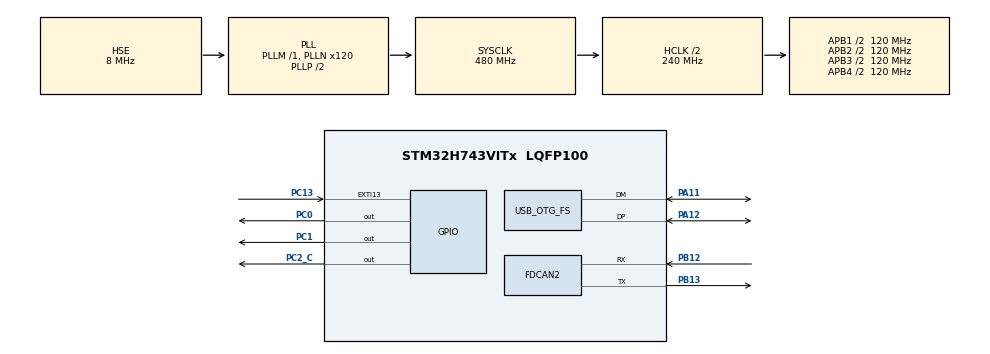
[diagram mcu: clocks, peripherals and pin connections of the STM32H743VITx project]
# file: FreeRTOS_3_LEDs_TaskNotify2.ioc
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FDCAN2.CalculateBaudRateNominal=800000
FDCAN2.CalculateTimeBitNominal=1250
FDCAN2.CalculateTimeQuantumNominal=250.0
Mcu.Family=STM32H7
Mcu.Name=STM32H743VITx
Mcu.Package=LQFP100
NVIC.EXTI15_10_IRQn=true\:5\:0\:true\:false\:true\:true\:true\:true
NVIC.FDCAN2_IT0_IRQn=true\:0\:0\:false\:false\:true\:true\:true\:true
NVIC.FDCAN2_IT1_IRQn=true\:0\:0\:false\:false\:true\:true\:true\:true
NVIC.PriorityGroup=NVIC_PRIORITYGROUP_4
NVIC.TIM6_DAC_IRQn=true\:15\:0\:false\:false\:true\:false\:true\:true
NVIC.TimeBase=TIM6_DAC_IRQn
NVIC.TimeBaseIP=TIM6
PA11.Mode=Host_Only
PA11.Signal=USB_OTG_FS_DM
PA12.Mode=Host_Only
PA12.Signal=USB_OTG_FS_DP
PA13\ (JTMS/SWDIO).Mode=Trace_Asynchronous_SW
PA13\ (JTMS/SWDIO).Signal=DEBUG_JTMS-SWDIO
PA14\ (JTCK/SWCLK).Mode=Trace_Asynchronous_SW
PA14\ (JTCK/SWCLK).Signal=DEBUG_JTCK-SWCLK
PB12.Mode=FDCAN_Activate
PB12.Signal=FDCAN2_RX
PB13.Mode=FDCAN_Activate
PB13.Signal=FDCAN2_TX
PB3\ (JTDO/TRACESWO).Mode=Trace_Asynchronous_SW
PB3\ (JTDO/TRACESWO).Signal=DEBUG_JTDO-SWO
PC0.Signal=GPIO_Output
PC1.Signal=GPIO_Output
PC13.GPIO_ModeDefaultEXTI=GPIO_MODE_IT_RISING
PC13.GPIO_PuPd=GPIO_NOPULL
PC13.Signal=GPXTI13
PC2_C.Signal=GPIO_Output
PH0-OSC_IN\ (PH0).Mode=HSE-External-Oscillator
PH0-OSC_IN\ (PH0).Signal=RCC_OSC_IN
PH1-OSC_OUT\ (PH1).Mode=HSE-External-Oscillator
PH1-OSC_OUT\ (PH1).Signal=RCC_OSC_OUT
ProjectManager.HeapSize=0x200
ProjectManager.StackSize=0x400
ProjectManager.TargetToolchain=STM32CubeIDE
RCC.ADCFreq_Value=16125000
RCC.APB1Freq_Value=120000000
RCC.APB2Freq_Value=120000000
RCC.APB3Freq_Value=120000000
RCC.APB4Freq_Value=120000000
RCC.CortexFreq_Value=480000000
RCC.D1PPRE=RCC_APB3_DIV2
RCC.D2PPRE1=RCC_APB1_DIV2
RCC.D2PPRE2=RCC_APB2_DIV2
RCC.D3PPRE=RCC_APB4_DIV2
RCC.DIVM1=1
RCC.DIVN1=120
RCC.DIVQ1=15
RCC.HCLKFreq_Value=240000000
RCC.HPRE=RCC_HCLK_DIV2
RCC.HSE_VALUE=8000000
RCC.PLL1_VCI_Range-AdvancedSettings=RCC_PLL1VCIRANGE_0
RCC.PLL2FRACN=0
RCC.PLL2_VCI_Range-AdvancedSettings=RCC_PLL2VCIRANGE_0
RCC.PLL2_VCO_SEL-AdvancedSettings=RCC_PLL2VCOMEDIUM
RCC.PLL3FRACN=0
RCC.PLL3_VCI_Range-AdvancedSettings=RCC_PLL3VCIRANGE_0
RCC.PLL3_VCO_SEL-AdvancedSettings=RCC_PLL3VCOMEDIUM
RCC.PLLFRACN=0
RCC.PLLSourceVirtual=RCC_PLLSOURCE_HSE
RCC.SYSCLKFreq_VALUE=480000000
RCC.SYSCLKSource=RCC_SYSCLKSOURCE_PLLCLK
RCC.USBFreq_Value=64000000
USB_OTG_FS.VirtualMode=Host_Only
USB_OTG_FS.phy_itface=HCD_PHY_EMBEDDED
VP_SYS_VS_tim6.Mode=TIM6
board=custom

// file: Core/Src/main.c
/* USER CODE BEGIN Header */
/**
  ******************************************************************************
  * @file           : main.c
  * @brief          : Main program body
  ******************************************************************************
  * @attention
  *
  * Copyright (c) 2022 STMicroelectronics.
  * All rights reserved.
  *
  * This software is licensed under terms that can be found in the LICENSE file
  * in the root directory of this software component.
  * If no LICENSE file comes with this software, it is provided AS-IS.
  *
  ******************************************************************************
  */
/* USER CODE END Header */
#include "main.h"

FDCAN_HandleTypeDef hfdcan2;

HCD_HandleTypeDef hhcd_USB_OTG_FS;

void SystemClock_Config(void);
static void MX_GPIO_Init(void);
static void MX_FDCAN2_Init(void);
static void MX_USB_OTG_FS_HCD_Init(void);
/* USER CODE BEGIN PFP */
extern void SEGGER_UART_init(U32 baud);
static void Task_GreenLED_Handler(void* parameters);
static void Task_RedLED_Handler(void* parameters);
static void Task_BlueLED_Handler(void* parameters);
static void Task_Button_Handler(void* parameters);
/* USER CODE END PFP */

/* USER CODE BEGIN 0 */
char *user_data = "Hello world\r\n";
TaskHandle_t Task_GreenLED_Handle;
TaskHandle_t Task_RedLED_Handle;
TaskHandle_t Task_BlueLED_Handle;
TaskHandle_t Task_Button_Handle;
TaskHandle_t volatile next_task_handle = NULL;
/* USER CODE END 0 */

int main(void)
{
  /* USER CODE BEGIN 1 */

	BaseType_t TaskStatus;
  /* USER CODE END 1 */

  /* MCU Configuration--------------------------------------------------------*/

  /* Reset of all peripherals, Initializes the Flash interface and the Systick. */
  HAL_Init();

  /* Configure the system clock */
  SystemClock_Config();

  /* Initialize all configured peripherals */
  MX_GPIO_Init();
  MX_FDCAN2_Init();
  MX_USB_OTG_FS_HCD_Init();
  /* USER CODE BEGIN 2 */

//  user_data = "Start of program\r\n";
//  	HAL_UART_Transmit(&huart2,(uint8_t*)user_data,strlen(user_data), HAL_MAX_DELAY);

  	// Enable CCYCCNT Counter
  	DWT->CTRL |= (1 << 0);

  	// Used for SEGGER UART
  	SEGGER_UART_init(500000);

  	//Starting SEGGER SYSVIEW
  	  SEGGER_SYSVIEW_Conf();
  	  //SEGGER_SYSVIEW_Start();

  	  TaskStatus = xTaskCreate(Task_GreenLED_Handler, "GreenLED", 200, "Green LED TASK", 3, &Task_GreenLED_Handle);
  	  configASSERT(TaskStatus == pdPASS);

  	  next_task_handle = Task_GreenLED_Handle;

  	  TaskStatus = xTaskCreate(Task_RedLED_Handler, "RedLED", 200, "Red LED TASK", 2, &Task_RedLED_Handle);
  	  configASSERT(TaskStatus == pdPASS);

  	  TaskStatus = xTaskCreate(Task_BlueLED_Handler, "BlueLED", 200, "Blue LED TASK", 1, &Task_BlueLED_Handle);
  	  configASSERT(TaskStatus == pdPASS);

  	  TaskStatus = xTaskCreate(Task_Button_Handler, "Button", 200, "Button TASK", 4, &Task_Button_Handle);
	  	configASSERT(TaskStatus == pdPASS);

  	  // Start FreeRTOS scheduler
  	  vTaskStartScheduler();

//  		user_data = "Scheduler called \r\n";
//  		HAL_UART_Transmit(&huart2,(uint8_t*)user_data,strlen(user_data), HAL_MAX_DELAY);

  /* USER CODE END 2 */

  /* Infinite loop */
  while (1)
  {

  }
}

void SystemClock_Config(void)
{
  RCC_OscInitTypeDef RCC_OscInitStruct = {0};
  RCC_ClkInitTypeDef RCC_ClkInitStruct = {0};

  /** Supply configuration update enable
  */
  HAL_PWREx_ConfigSupply(PWR_LDO_SUPPLY);

  /** Configure the main internal regulator output voltage
  */
  __HAL_PWR_VOLTAGESCALING_CONFIG(PWR_REGULATOR_VOLTAGE_SCALE1);

  while(!__HAL_PWR_GET_FLAG(PWR_FLAG_VOSRDY)) {}

  __HAL_RCC_SYSCFG_CLK_ENABLE();
  __HAL_PWR_VOLTAGESCALING_CONFIG(PWR_REGULATOR_VOLTAGE_SCALE0);

  while(!__HAL_PWR_GET_FLAG(PWR_FLAG_VOSRDY)) {}

  /** Initializes the RCC Oscillators according to the specified parameters
  * in the RCC_OscInitTypeDef structure.
  */
  RCC_OscInitStruct.OscillatorType = RCC_OSCILLATORTYPE_HSE;
  RCC_OscInitStruct.HSEState = RCC_HSE_ON;
  RCC_OscInitStruct.PLL.PLLState = RCC_PLL_ON;
  RCC_OscInitStruct.PLL.PLLSource = RCC_PLLSOURCE_HSE;
  RCC_OscInitStruct.PLL.PLLM = 1;
  RCC_OscInitStruct.PLL.PLLN = 120;
  RCC_OscInitStruct.PLL.PLLP = 2;
  RCC_OscInitStruct.PLL.PLLQ = 15;
  RCC_OscInitStruct.PLL.PLLR = 2;
  RCC_OscInitStruct.PLL.PLLRGE = RCC_PLL1VCIRANGE_3;
  RCC_OscInitStruct.PLL.PLLVCOSEL = RCC_PLL1VCOWIDE;
  RCC_OscInitStruct.PLL.PLLFRACN = 0;
  if (HAL_RCC_OscConfig(&RCC_OscInitStruct) != HAL_OK)
  {
    Error_Handler();
  }

  /** Initializes the CPU, AHB and APB buses clocks
  */
  RCC_ClkInitStruct.ClockType = RCC_CLOCKTYPE_HCLK|RCC_CLOCKTYPE_SYSCLK
                              |RCC_CLOCKTYPE_PCLK1|RCC_CLOCKTYPE_PCLK2
                              |RCC_CLOCKTYPE_D3PCLK1|RCC_CLOCKTYPE_D1PCLK1;
  RCC_ClkInitStruct.SYSCLKSource = RCC_SYSCLKSOURCE_PLLCLK;
  RCC_ClkInitStruct.SYSCLKDivider = RCC_SYSCLK_DIV1;
  RCC_ClkInitStruct.AHBCLKDivider = RCC_HCLK_DIV2;
  RCC_ClkInitStruct.APB3CLKDivider = RCC_APB3_DIV2;
  RCC_ClkInitStruct.APB1CLKDivider = RCC_APB1_DIV2;
  RCC_ClkInitStruct.APB2CLKDivider = RCC_APB2_DIV2;
  RCC_ClkInitStruct.APB4CLKDivider = RCC_APB4_DIV2;

  if (HAL_RCC_ClockConfig(&RCC_ClkInitStruct, FLASH_LATENCY_4) != HAL_OK)
  {
    Error_Handler();
  }
}

static void MX_FDCAN2_Init(void)
{

  hfdcan2.Instance = FDCAN2;
  hfdcan2.Init.FrameFormat = FDCAN_FRAME_CLASSIC;
  hfdcan2.Init.Mode = FDCAN_MODE_NORMAL;
  hfdcan2.Init.AutoRetransmission = DISABLE;
  hfdcan2.Init.TransmitPause = DISABLE;
  hfdcan2.Init.ProtocolException = DISABLE;
  hfdcan2.Init.NominalPrescaler = 16;
  hfdcan2.Init.NominalSyncJumpWidth = 1;
  hfdcan2.Init.NominalTimeSeg1 = 2;
  hfdcan2.Init.NominalTimeSeg2 = 2;
  hfdcan2.Init.DataPrescaler = 1;
  hfdcan2.Init.DataSyncJumpWidth = 1;
  hfdcan2.Init.DataTimeSeg1 = 1;
  hfdcan2.Init.DataTimeSeg2 = 1;
  hfdcan2.Init.MessageRAMOffset = 0;
  hfdcan2.Init.StdFiltersNbr = 0;
  hfdcan2.Init.ExtFiltersNbr = 0;
  hfdcan2.Init.RxFifo0ElmtsNbr = 0;
  hfdcan2.Init.RxFifo0ElmtSize = FDCAN_DATA_BYTES_8;
  hfdcan2.Init.RxFifo1ElmtsNbr = 0;
  hfdcan2.Init.RxFifo1ElmtSize = FDCAN_DATA_BYTES_8;
  hfdcan2.Init.RxBuffersNbr = 0;
  hfdcan2.Init.RxBufferSize = FDCAN_DATA_BYTES_8;
  hfdcan2.Init.TxEventsNbr = 0;
  hfdcan2.Init.TxBuffersNbr = 0;
  hfdcan2.Init.TxFifoQueueElmtsNbr = 0;
  hfdcan2.Init.TxFifoQueueMode = FDCAN_TX_FIFO_OPERATION;
  hfdcan2.Init.TxElmtSize = FDCAN_DATA_BYTES_8;
  if (HAL_FDCAN_Init(&hfdcan2) != HAL_OK)
  {
    Error_Handler();
  }

}

static void MX_USB_OTG_FS_HCD_Init(void)
{

  hhcd_USB_OTG_FS.Instance = USB_OTG_FS;
  hhcd_USB_OTG_FS.Init.Host_channels = 16;
  hhcd_USB_OTG_FS.Init.speed = HCD_SPEED_FULL;
  hhcd_USB_OTG_FS.Init.dma_enable = DISABLE;
  hhcd_USB_OTG_FS.Init.phy_itface = HCD_PHY_EMBEDDED;
  hhcd_USB_OTG_FS.Init.Sof_enable = DISABLE;
  if (HAL_HCD_Init(&hhcd_USB_OTG_FS) != HAL_OK)
  {
    Error_Handler();
  }

}

static void MX_GPIO_Init(void)
{
  GPIO_InitTypeDef GPIO_InitStruct = {0};

  /* GPIO Ports Clock Enable */
  __HAL_RCC_GPIOC_CLK_ENABLE();
  __HAL_RCC_GPIOH_CLK_ENABLE();
  __HAL_RCC_GPIOB_CLK_ENABLE();
  __HAL_RCC_GPIOA_CLK_ENABLE();

  /*Configure GPIO pin Output Level */
  HAL_GPIO_WritePin(GPIOC, GPIO_PIN_0|GPIO_PIN_1|GPIO_PIN_2, GPIO_PIN_RESET);

  /*Configure GPIO pin : PC13 */
  GPIO_InitStruct.Pin = GPIO_PIN_13;
  GPIO_InitStruct.Mode = GPIO_MODE_IT_RISING;
  GPIO_InitStruct.Pull = GPIO_NOPULL;
  HAL_GPIO_Init(GPIOC, &GPIO_InitStruct);

  /*Configure GPIO pins : PC0 PC1 PC2 */
  GPIO_InitStruct.Pin = GPIO_PIN_0|GPIO_PIN_1|GPIO_PIN_2;
  GPIO_InitStruct.Mode = GPIO_MODE_OUTPUT_PP;
  GPIO_InitStruct.Pull = GPIO_NOPULL;
  GPIO_InitStruct.Speed = GPIO_SPEED_FREQ_LOW;
  HAL_GPIO_Init(GPIOC, &GPIO_InitStruct);

  /* EXTI interrupt init*/
  HAL_NVIC_SetPriority(EXTI15_10_IRQn, 5, 0);
  HAL_NVIC_EnableIRQ(EXTI15_10_IRQn);

}

/* USER CODE BEGIN 4 */
static void Task_GreenLED_Handler(void* parameters)
{
	//TickType_t LastWakeUpTime = xTaskGetTickCount();
	BaseType_t Status;
	while(1)
	{
//		user_data = "Green -\r\n";
//		HAL_UART_Transmit(&huart2,(uint8_t*)user_data,strlen(user_data), HAL_MAX_DELAY);
//		printf("%s\n", (char*)parameters);
		SEGGER_SYSVIEW_PrintfTarget("Toggling Green LED");
		// 1000 system tickes -> needs to be converted to ms
		HAL_GPIO_TogglePin(GPIOC, LED_Green_PIN);
		Status = xTaskNotifyWait(0, 0, NULL, pdMS_TO_TICKS(1000));
		if (Status == pdTRUE)
		{
			vTaskSuspendAll();
			next_task_handle = Task_RedLED_Handle;
			xTaskResumeAll();
			HAL_GPIO_WritePin(GPIOC, LED_Green_PIN, GPIO_PIN_SET);
			SEGGER_SYSVIEW_PrintfTarget("Delete green task");
			vTaskDelete(NULL);
		}
//		vTaskDelayUntil(&LastWakeUpTime, pdMS_TO_TICKS(1000));
//		HAL_GPIO_TogglePin(GPIOC, LED_Green_PIN);
//		vTaskDelayUntil(&LastWakeUpTime, pdMS_TO_TICKS(1000));
//		taskYIELD();
	}
}

static void Task_RedLED_Handler(void* parameters)
{
	//TickType_t LastWakeUpTime = xTaskGetTickCount();
	BaseType_t Status;
	while(1)
	{
//		user_data = "Red -\r\n";
//		HAL_UART_Transmit(&huart2,(uint8_t*)user_data,strlen(user_data), HAL_MAX_DELAY);
//		printf("%s\n", (char*)parameters);
		SEGGER_SYSVIEW_PrintfTarget("Toggling Red LED");
		// 800 system tickes -> needs to be converted to ms
		HAL_GPIO_TogglePin(GPIOC, LED_Red_PIN);
		Status = xTaskNotifyWait(0, 0, NULL, pdMS_TO_TICKS(800));
		if (Status == pdTRUE)
		{
			vTaskSuspendAll();
			next_task_handle = Task_BlueLED_Handle;
			xTaskResumeAll();
			HAL_GPIO_WritePin(GPIOC, LED_Red_PIN, GPIO_PIN_SET);
			SEGGER_SYSVIEW_PrintfTarget("Delete red task");
			vTaskDelete(NULL);
		}
//		vTaskDelayUntil(&LastWakeUpTime, pdMS_TO_TICKS(800));
//		HAL_GPIO_TogglePin(GPIOC, LED_Red_PIN);
//		vTaskDelayUntil(&LastWakeUpTime, pdMS_TO_TICKS(800));
		//taskYIELD();
	}
}

static void Task_BlueLED_Handler(void* parameters)
{
	//TickType_t LastWakeUpTime = xTaskGetTickCount();

	BaseType_t Status;
	while(1)
	{
//		user_data = "Blue -\r\n";
//		HAL_UART_Transmit(&huart2,(uint8_t*)user_data,strlen(user_data), HAL_MAX_DELAY);
//		printf("%s\n", (char*)parameters);

		SEGGER_SYSVIEW_PrintfTarget("Toggling Blue LED");
		HAL_GPIO_TogglePin(GPIOC, LED_Blue_PIN);
		Status = xTaskNotifyWait(0, 0, NULL, pdMS_TO_TICKS(400));
		if (Status == pdTRUE)
		{
			vTaskSuspendAll();
			next_task_handle = NULL;
			xTaskResumeAll();
			HAL_GPIO_WritePin(GPIOC, LED_Blue_PIN, GPIO_PIN_SET);
			SEGGER_SYSVIEW_PrintfTarget("Delete button task");
			vTaskDelete(Task_Button_Handle);
			SEGGER_SYSVIEW_PrintfTarget("Delete blue task");
			vTaskDelete(NULL);

		}

		// 400 system tickes -> needs to be converted to ms
//		vTaskDelayUntil(&LastWakeUpTime, pdMS_TO_TICKS(400));
//		HAL_GPIO_TogglePin(GPIOC, LED_Blue_PIN);
//		vTaskDelayUntil(&LastWakeUpTime, pdMS_TO_TICKS(400));
		//taskYIELD();
	}
}

static void Task_Button_Handler(void* parameters)
{
	uint8_t button_read = 0;
	uint8_t previous_read = 1;

	while(1)
	{
		button_read = HAL_GPIO_ReadPin(GPIOC, Button_PIN);

		if(button_read)
		{
			if(! previous_read)
			{
				xTaskNotify(next_task_handle, 0, eNoAction);
			}
		}
		previous_read = button_read;
		vTaskDelay(pdMS_TO_TICKS(10));
	}

}

/* USER CODE END 4 */

void HAL_TIM_PeriodElapsedCallback(TIM_HandleTypeDef *htim)
{
  if (htim->Instance == TIM6) {
    HAL_IncTick();
  }
}

void Error_Handler(void)
{
  __disable_irq();
  while (1)
  {
  }
}
